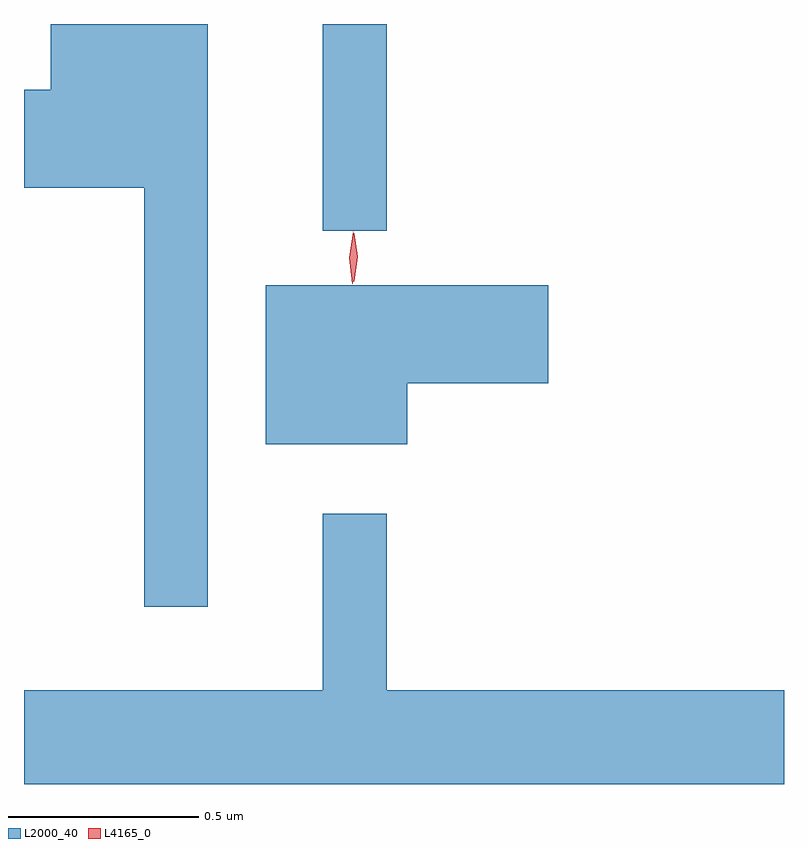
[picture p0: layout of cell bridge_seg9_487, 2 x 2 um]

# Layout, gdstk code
import gdstk
lib = gdstk.Library(unit=1e-6, precision=1e-09)
def R(c, l, rs):  # rectangles x0, y0, x1, y1
    for r in rs: c.add(gdstk.rectangle(r[:2], r[2:], *l))
def P(c, l, *ps):  # polygons
    for p in ps: c.add(gdstk.Polygon(p, *l))
L2000_40 = (2000, 40)
L4165_0 = (4165, 0)

bridge_seg9_487 = lib.new_cell('bridge_seg9_487')
R(bridge_seg9_487, L2000_40, [(476.491,1997.733,476.659,1998.277)])
P(bridge_seg9_487, L2000_40, [(476.189,1998.277),(475.776,1998.277),(475.776,1998.104),(475.705,1998.104),(475.705,1997.846),(476.021,1997.846),(476.021,1996.743),(476.189,1996.743)],
  [(476.714,1997.331),(477.084,1997.331),(477.084,1997.589),(476.341,1997.589),(476.341,1997.171),(476.714,1997.171)],
  [(477.705,1996.524),(476.659,1996.524),(476.659,1996.988),(476.491,1996.988),(476.491,1996.524),(475.705,1996.524),(475.705,1996.277),(477.705,1996.277)])
P(bridge_seg9_487, L4165_0, [(476.573,1997.6),(476.573,1997.6),(476.563,1997.664),(476.573,1997.726),(476.573,1997.727),(476.574,1997.726),(476.583,1997.664),(476.574,1997.6)],
  [(476.569,1997.594),(476.561,1997.662),(476.571,1997.73),(476.571,1997.73),(476.572,1997.73),(476.58,1997.662),(476.57,1997.594),(476.57,1997.594)])

lib.write_gds('bridge_seg9_487.gds')
